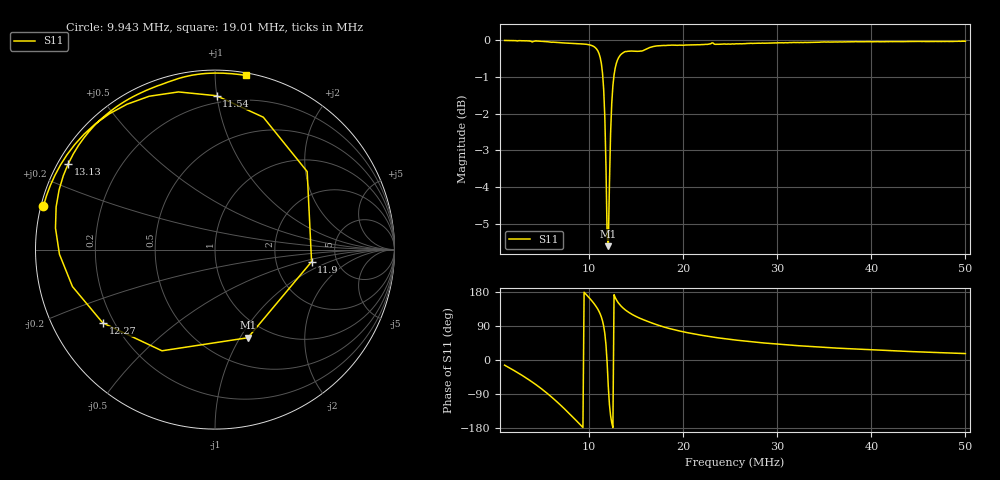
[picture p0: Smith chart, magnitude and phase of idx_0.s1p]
# HZ S RI R 50
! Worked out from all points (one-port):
!   401 points, 1 MHz to 50 MHz, reference 50 ohm
!   lowest |S11| = -5.6 dB at 12.03 MHz (marker M1), VSWR 3.20, Z = 39.9 - j54.1 ohm
!   |S11| at or under -10 dB: nowhere
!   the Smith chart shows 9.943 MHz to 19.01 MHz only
!   S11 on the Smith chart (normalised r, x): 9.943 MHz: 0.01, +0.13; 11.54 MHz: 0.15, +1.00; 11.9 MHz: 3.24, -0.62; 12.27 MHz: 0.16, -0.29; 13.13 MHz: 0.03, +0.27; 19.01 MHz: 0.02, +1.19
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1000000  0.9714 -0.2359
2960000  0.7406 -0.6701
4797500  0.2812 -0.9567
6022500  -0.1441 -0.9834
7125000  -0.5431 -0.8303
8595000  -0.9249 -0.3519
9942500  -0.9556 0.2442
1.09225e7  -0.6666 0.7005
1.129e7  -0.3666 0.8545
1.1535e7  0.00838 0.8572
1.178e7  0.5135 0.4348
1.19025e7  0.5381 -0.0672
1.2025e7  0.1834 -0.491
1.21475e7  -0.2955 -0.5638
1.227e7  -0.6251 -0.4086
1.23925e7  -0.7942 -0.2059
1.26375e7  -0.8887 0.12
1.31275e7  -0.818 0.4776
1.325e7  -0.789 0.5336
1.3985e7  -0.6133 0.7457
1.521e7  -0.3629 0.8953
1.90075e7  0.1706 0.97
1.9375e7  0.2073 0.9624
2.55e7  0.5975 0.7878
3.1625e7  0.7736 0.6228
3.775e7  0.8662 0.4902
4.3875e7  0.9196 0.3827
5e7  0.9535 0.2918
